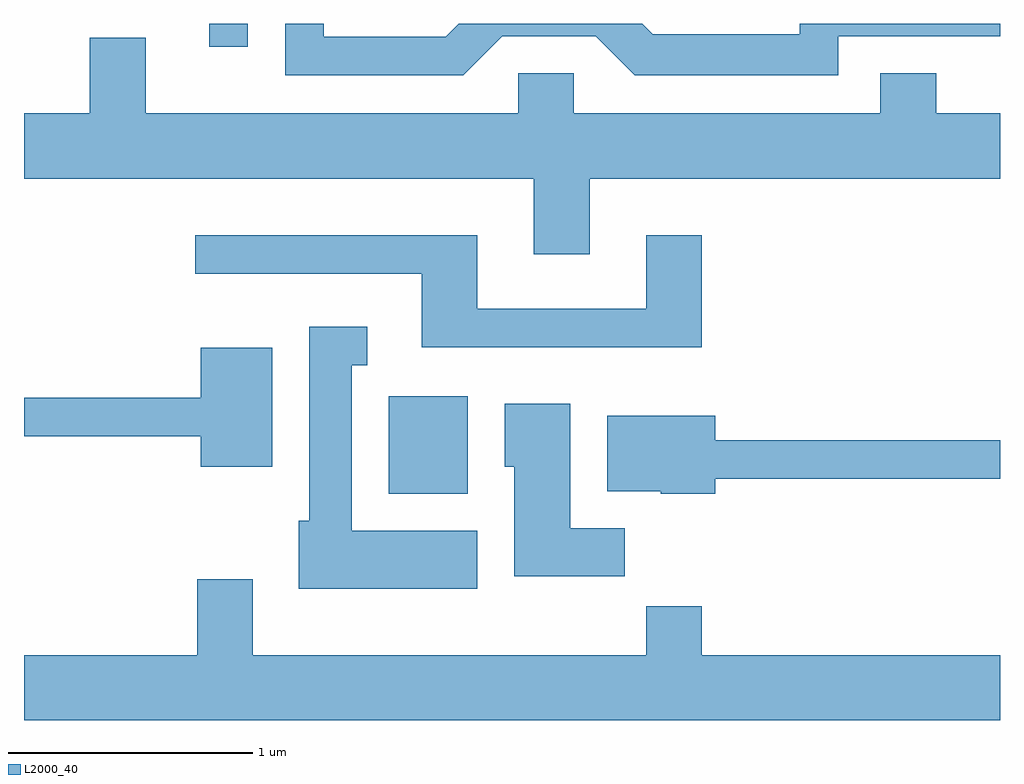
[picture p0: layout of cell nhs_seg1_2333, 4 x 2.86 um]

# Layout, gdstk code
import gdstk
lib = gdstk.Library(unit=1e-6, precision=1e-09)
def R(c, l, rs):  # rectangles x0, y0, x1, y1
    for r in rs: c.add(gdstk.rectangle(r[:2], r[2:], *l))
def P(c, l, *ps):  # polygons
    for p in ps: c.add(gdstk.Polygon(p, *l))
L2000_40 = (2000, 40)

nhs_seg1_2333 = lib.new_cell('nhs_seg1_2333')
R(nhs_seg1_2333, L2000_40, [(257.106,953.786,257.429,954.184), (256.371,955.618,256.529,955.712)])
P(nhs_seg1_2333, L2000_40, [(257.572,955.661),(257.954,955.661),(258.114,955.501),(258.949,955.501),(258.949,955.661),(259.611,955.661),(259.611,955.712),(258.791,955.712),(258.791,955.669),(258.187,955.669),(258.144,955.712),(257.392,955.712),(257.339,955.659),(256.839,955.659),(256.839,955.712),(256.681,955.712),(256.681,955.501),(257.412,955.501)],
  [(257.929,955.076),(259.611,955.076),(259.611,955.344),(259.349,955.344),(259.349,955.509),(259.121,955.509),(259.121,955.344),(257.864,955.344),(257.864,955.509),(257.636,955.509),(257.636,955.344),(256.109,955.344),(256.109,955.654),(255.881,955.654),(255.881,955.344),(255.611,955.344),(255.611,955.076),(257.701,955.076),(257.701,954.766),(257.929,954.766)],
  [(258.389,954.844),(258.161,954.844),(258.161,954.544),(257.469,954.544),(257.469,954.844),(256.313,954.844),(256.313,954.686),(257.241,954.686),(257.241,954.386),(258.389,954.386)],
  [(257.469,953.634),(256.954,953.634),(256.954,954.311),(257.017,954.311),(257.017,954.469),(256.781,954.469),(256.781,953.674),(256.736,953.674),(256.736,953.396),(257.469,953.396)],
  [(256.629,954.384),(256.336,954.384),(256.336,954.179),(255.611,954.179),(255.611,954.021),(256.336,954.021),(256.336,953.896),(256.629,953.896)],
  [(258.074,953.644),(257.849,953.644),(257.849,954.154),(257.581,954.154),(257.581,953.896),(257.621,953.896),(257.621,953.446),(258.074,953.446)],
  [(258.444,953.846),(259.611,953.846),(259.611,954.004),(258.444,954.004),(258.444,954.104),(258.001,954.104),(258.001,953.796),(258.22,953.796),(258.22,953.786),(258.444,953.786)],
  [(259.611,953.124),(258.389,953.124),(258.389,953.324),(258.161,953.324),(258.161,953.124),(256.549,953.124),(256.549,953.434),(256.321,953.434),(256.321,953.124),(255.611,953.124),(255.611,952.856),(259.611,952.856)])

lib.write_gds('nhs_seg1_2333.gds')
